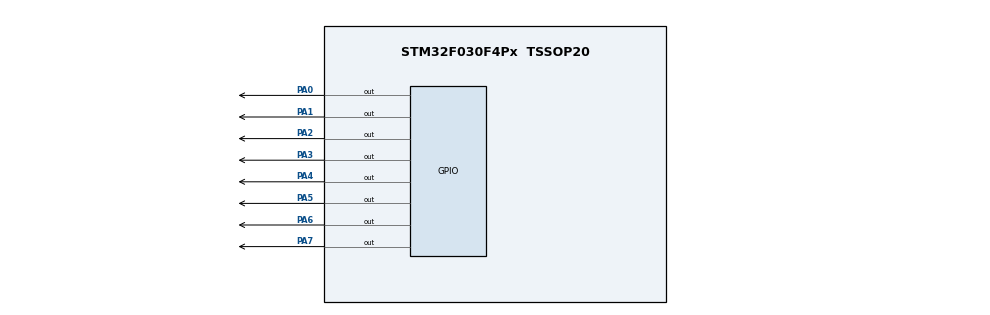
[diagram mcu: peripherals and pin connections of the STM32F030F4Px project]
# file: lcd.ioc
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Mcu.Family=STM32F0
Mcu.Name=STM32F030F4Px
Mcu.Package=TSSOP20
PA0.GPIO_Speed=GPIO_SPEED_FREQ_HIGH
PA0.Signal=GPIO_Output
PA1.GPIO_Speed=GPIO_SPEED_FREQ_HIGH
PA1.Signal=GPIO_Output
PA13.Mode=Serial_Wire
PA13.Signal=SYS_SWDIO
PA14.Mode=Serial_Wire
PA14.Signal=SYS_SWCLK
PA2.GPIO_Speed=GPIO_SPEED_FREQ_HIGH
PA2.Signal=GPIO_Output
PA3.GPIO_Speed=GPIO_SPEED_FREQ_HIGH
PA3.Signal=GPIO_Output
PA4.Signal=GPIO_Output
PA5.GPIO_Speed=GPIO_SPEED_FREQ_HIGH
PA5.Signal=GPIO_Output
PA6.GPIO_Speed=GPIO_SPEED_FREQ_HIGH
PA6.Signal=GPIO_Output
PA7.GPIO_Speed=GPIO_SPEED_FREQ_HIGH
PA7.Signal=GPIO_Output
PF0-OSC_IN.Mode=HSE-External-Oscillator
PF0-OSC_IN.Signal=RCC_OSC_IN
PF1-OSC_OUT.Mode=HSE-External-Oscillator
PF1-OSC_OUT.Signal=RCC_OSC_OUT
ProjectManager.HeapSize=0x200
ProjectManager.StackSize=0x400
ProjectManager.TargetToolchain=MDK-ARM V4
RCC.AHBFreq_Value=8000000
RCC.APB1Freq_Value=8000000
RCC.APB1TimFreq_Value=8000000
RCC.HCLKFreq_Value=8000000
RCC.RTCClockSelection=RCC_RTCCLKSOURCE_HSE_DIV32
RCC.SYSCLKSource=RCC_SYSCLKSOURCE_HSE
RTC.AsynchPrediv=99
RTC.SynchPrediv=2499
VP_RTC_VS_RTC_Activate.Mode=RTC_Enabled
board=lcd

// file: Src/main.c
/* USER CODE BEGIN Header */
/**
  ******************************************************************************
  * @file           : main.c
  * @brief          : Main program body
  ******************************************************************************
  ** This notice applies to any and all portions of this file
  * that are not between comment pairs USER CODE BEGIN and
  * USER CODE END. Other portions of this file, whether
  * inserted by the user or by software development tools
  * are owned by their respective copyright owners.
  *
  * COPYRIGHT(c) 2018 STMicroelectronics
  *
  * Redistribution and use in source and binary forms, with or without modification,
  * are permitted provided that the following conditions are met:
  *   1. Redistributions of source code must retain the above copyright notice,
  *      this list of conditions and the following disclaimer.
  *   2. Redistributions in binary form must reproduce the above copyright notice,
  *      this list of conditions and the following disclaimer in the documentation
  *      and/or other materials provided with the distribution.
  *   3. Neither the name of STMicroelectronics nor the names of its contributors
  *      may be used to endorse or promote products derived from this software
  *      without specific prior written permission.
  *
  * THIS SOFTWARE IS PROVIDED BY THE COPYRIGHT HOLDERS AND CONTRIBUTORS "AS IS"
  * AND ANY EXPRESS OR IMPLIED WARRANTIES, INCLUDING, BUT NOT LIMITED TO, THE
  * IMPLIED WARRANTIES OF MERCHANTABILITY AND FITNESS FOR A PARTICULAR PURPOSE ARE
  * DISCLAIMED. IN NO EVENT SHALL THE COPYRIGHT HOLDER OR CONTRIBUTORS BE LIABLE
  * FOR ANY DIRECT, INDIRECT, INCIDENTAL, SPECIAL, EXEMPLARY, OR CONSEQUENTIAL
  * DAMAGES (INCLUDING, BUT NOT LIMITED TO, PROCUREMENT OF SUBSTITUTE GOODS OR
  * SERVICES; LOSS OF USE, DATA, OR PROFITS; OR BUSINESS INTERRUPTION) HOWEVER
  * CAUSED AND ON ANY THEORY OF LIABILITY, WHETHER IN CONTRACT, STRICT LIABILITY,
  * OR TORT (INCLUDING NEGLIGENCE OR OTHERWISE) ARISING IN ANY WAY OUT OF THE USE
  * OF THIS SOFTWARE, EVEN IF ADVISED OF THE POSSIBILITY OF SUCH DAMAGE.
  *
  ******************************************************************************
  */
/* USER CODE END Header */

#include "main.h"

/* USER CODE BEGIN Includes */
#include <stdio.h>
#define RS 5
#define WR 6
#define EN 7
/* USER CODE END Includes */

RTC_HandleTypeDef hrtc;

/* USER CODE BEGIN PV */
/* Private variables ---------------------------------------------------------*/
/* USER CODE END PV */

void SystemClock_Config(void);
static void MX_GPIO_Init(void);
static void MX_RTC_Init(void);
/* USER CODE BEGIN PFP */
/* Private function prototypes -----------------------------------------------*/
void command(unsigned char cmd);
void display(unsigned char cmd);
void ready(char dly);
void init(void);
void clk(void);
char RTC_CalendarShow(uint8_t *showtime, uint8_t *showdate);
/* USER CODE END PFP */

int main(void)
{
  /* USER CODE BEGIN 1 */
  int j;
	uint8_t showtime[20], showdate[20];
  /* USER CODE END 1 */

  /* MCU Configuration--------------------------------------------------------*/

  /* Reset of all peripherals, Initializes the Flash interface and the Systick. */
  HAL_Init();

  /* Configure the system clock */
  SystemClock_Config();

  /* Initialize all configured peripherals */
  MX_GPIO_Init();
  MX_RTC_Init();
  /* USER CODE BEGIN 2 */
  init();
  /* USER CODE END 2 */

  /* Infinite loop */
  while (1)
  {

    /* USER CODE BEGIN 3 */
    if(RTC_CalendarShow(showtime, showdate))
		{
			command(0x80);  //locate 1,1
		  for(j=0;j<9;j++)
			{
				display(showtime[j]);
			}
		}
		HAL_Delay(50);
  }
  /* USER CODE END 3 */
}

void SystemClock_Config(void)
{
  RCC_OscInitTypeDef RCC_OscInitStruct = {0};
  RCC_ClkInitTypeDef RCC_ClkInitStruct = {0};
  RCC_PeriphCLKInitTypeDef PeriphClkInit = {0};

  /**Initializes the CPU, AHB and APB busses clocks
  */
  RCC_OscInitStruct.OscillatorType = RCC_OSCILLATORTYPE_HSE;
  RCC_OscInitStruct.HSEState = RCC_HSE_ON;
  RCC_OscInitStruct.PLL.PLLState = RCC_PLL_NONE;
  if (HAL_RCC_OscConfig(&RCC_OscInitStruct) != HAL_OK)
  {
    Error_Handler();
  }
  /**Initializes the CPU, AHB and APB busses clocks
  */
  RCC_ClkInitStruct.ClockType = RCC_CLOCKTYPE_HCLK|RCC_CLOCKTYPE_SYSCLK
                              |RCC_CLOCKTYPE_PCLK1;
  RCC_ClkInitStruct.SYSCLKSource = RCC_SYSCLKSOURCE_HSE;
  RCC_ClkInitStruct.AHBCLKDivider = RCC_SYSCLK_DIV1;
  RCC_ClkInitStruct.APB1CLKDivider = RCC_HCLK_DIV1;

  if (HAL_RCC_ClockConfig(&RCC_ClkInitStruct, FLASH_LATENCY_0) != HAL_OK)
  {
    Error_Handler();
  }
  PeriphClkInit.PeriphClockSelection = RCC_PERIPHCLK_RTC;
  PeriphClkInit.RTCClockSelection = RCC_RTCCLKSOURCE_HSE_DIV32;
  if (HAL_RCCEx_PeriphCLKConfig(&PeriphClkInit) != HAL_OK)
  {
    Error_Handler();
  }
}

static void MX_RTC_Init(void)
{

  /**Initialize RTC Only
  */
  hrtc.Instance = RTC;
  hrtc.Init.HourFormat = RTC_HOURFORMAT_24;
  hrtc.Init.AsynchPrediv = 99;
  hrtc.Init.SynchPrediv = 2499;
  hrtc.Init.OutPut = RTC_OUTPUT_DISABLE;
  hrtc.Init.OutPutPolarity = RTC_OUTPUT_POLARITY_HIGH;
  hrtc.Init.OutPutType = RTC_OUTPUT_TYPE_OPENDRAIN;
  if (HAL_RTC_Init(&hrtc) != HAL_OK)
  {
    Error_Handler();
  }

}

static void MX_GPIO_Init(void)
{
  GPIO_InitTypeDef GPIO_InitStruct = {0};

  /* GPIO Ports Clock Enable */
  __HAL_RCC_GPIOF_CLK_ENABLE();
  __HAL_RCC_GPIOA_CLK_ENABLE();

  /*Configure GPIO pin Output Level */
  HAL_GPIO_WritePin(GPIOA, GPIO_PIN_0|GPIO_PIN_1|GPIO_PIN_2|GPIO_PIN_3
                          |GPIO_PIN_4|GPIO_PIN_5|GPIO_PIN_6|GPIO_PIN_7, GPIO_PIN_RESET);

  /*Configure GPIO pins : PA0 PA1 PA2 PA3
                           PA5 PA6 PA7 */
  GPIO_InitStruct.Pin = GPIO_PIN_0|GPIO_PIN_1|GPIO_PIN_2|GPIO_PIN_3
                          |GPIO_PIN_5|GPIO_PIN_6|GPIO_PIN_7;
  GPIO_InitStruct.Mode = GPIO_MODE_OUTPUT_PP;
  GPIO_InitStruct.Pull = GPIO_NOPULL;
  GPIO_InitStruct.Speed = GPIO_SPEED_FREQ_HIGH;
  HAL_GPIO_Init(GPIOA, &GPIO_InitStruct);

  /*Configure GPIO pin : PA4 */
  GPIO_InitStruct.Pin = GPIO_PIN_4;
  GPIO_InitStruct.Mode = GPIO_MODE_OUTPUT_PP;
  GPIO_InitStruct.Pull = GPIO_NOPULL;
  GPIO_InitStruct.Speed = GPIO_SPEED_FREQ_LOW;
  HAL_GPIO_Init(GPIOA, &GPIO_InitStruct);

}

/* USER CODE BEGIN 4 */
void init(void)
{
	GPIOA->ODR = 0x03;
	ready(50);
	clk();
	clk();
	clk();
	GPIOA->ODR = 0x02;
	clk();
	command(0x28);
	command(0x01);
	command(0x06);
	command(0x0C);
}
void ready(char dly)
{
	HAL_Delay(dly);
}
void command(unsigned char cmd)
{
	ready(1);
	GPIOA->ODR = ((cmd >>4) & 0x0F);
	clk();
	GPIOA->ODR = ((cmd >>0) & 0x0F);
  clk();
}
void display(unsigned char cmd)
{
	ready(1);
	GPIOA->ODR = ((cmd >>4) & 0x0F)|(1<<RS);
	clk();
	GPIOA->ODR = ((cmd >>0) & 0x0F)|(1<<RS);
  clk();
}
void clk(void)
{
	GPIOA->ODR |= 1<<EN;
	ready(1);
	GPIOA->ODR &= ~(1<<EN);
	ready(1);
}
char RTC_CalendarShow(uint8_t *showtime, uint8_t *showdate)
{
  RTC_DateTypeDef sdatestructureget;
  static RTC_TimeTypeDef stimestructureget, prev;
  prev.Seconds = stimestructureget.Seconds;
  /* Get the RTC current Time */
  HAL_RTC_GetTime(&hrtc, &stimestructureget, RTC_FORMAT_BIN);
  /* Get the RTC current Date */
  HAL_RTC_GetDate(&hrtc, &sdatestructureget, RTC_FORMAT_BIN);
  /* Display time Format : hh:mm:ss */
  sprintf((char *)showtime, "%02d:%02d:%02d ", stimestructureget.Hours, stimestructureget.Minutes, stimestructureget.Seconds);
  /* Display date Format : mm-dd-yy */
  sprintf((char *)showdate, "%02d-%02d-%02d\r", sdatestructureget.Month, sdatestructureget.Date, 2000 + sdatestructureget.Year);
	if (prev.Seconds == stimestructureget.Seconds)return 0; else return 1;
}

/* USER CODE END 4 */

void Error_Handler(void)
{
  while(1)
  {
  }
}

/************************ (C) COPYRIGHT STMicroelectronics *****END OF FILE****/
